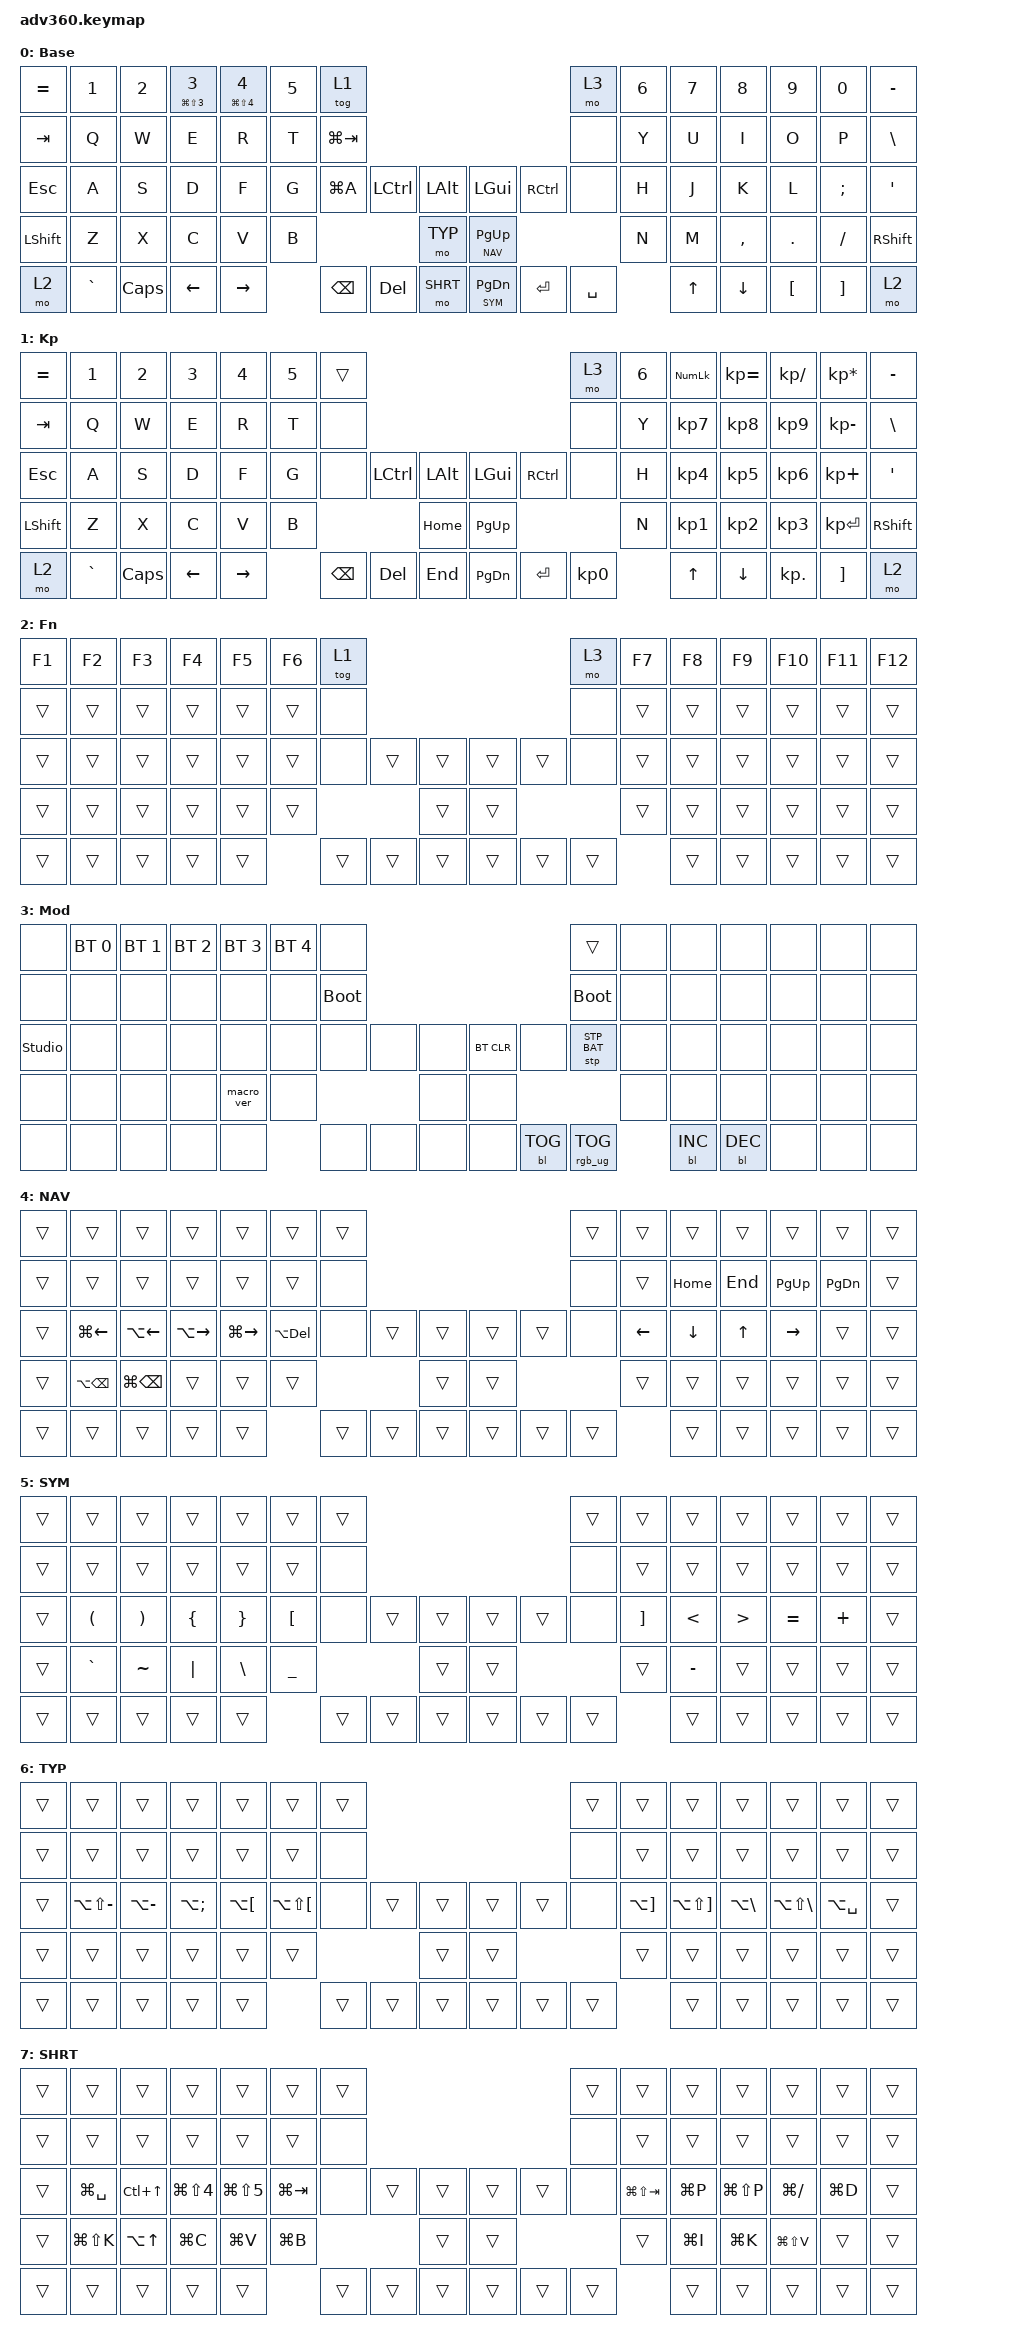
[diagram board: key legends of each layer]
#include <dt-bindings/zmk/stp.h>
#include <behaviors.dtsi>
#include <dt-bindings/zmk/backlight.h>
#include <dt-bindings/zmk/bt.h>
#include <dt-bindings/zmk/keys.h>
#include <dt-bindings/zmk/rgb.h>

#define BASE 0
#define NAV  4
#define SYM  5
#define TYP  6
#define SHRT 7

/ {
    behaviors {
        #include "macros.dtsi"
      #include "version.dtsi"

        hm: homerow_mods {
            compatible = "zmk,behavior-hold-tap";
            label = "HOMEROW_MODS";
            #binding-cells = <2>;
            tapping-term-ms = <200>;
            quick_tap_ms = <175>;
            flavor = "tap-preferred";
            bindings = <&kp>, <&kp>;
        };

        lth: layer_tap_hold {
            compatible = "zmk,behavior-hold-tap";
            label = "LAYER_TAP_HOLD";
            #binding-cells = <2>;
            flavor = "hold-preferred";
            tapping-term-ms = <200>;
            quick-tap-ms = <175>;
            require-prior-idle-ms = <150>;
            bindings = <&mo>, <&kp>;
        };
    };

    keymap {
        compatible = "zmk,keymap";

        default_layer {
            display-name = "Base";
            bindings = <
&kp EQUAL  &kp N1     &kp N2    &hm LG(LS(N3)) NUMBER_3  &hm LG(LS(N4)) NUMBER_4  &kp N5  &tog 1                                                           &mo 3      &kp N6  &kp N7  &kp N8     &kp N9    &kp N0    &kp MINUS
&kp TAB    &kp Q      &kp W     &kp E                    &kp R                    &kp T   &kp LG(TAB)                                                      &none      &kp Y   &kp U   &kp I      &kp O     &kp P     &kp BSLH
&kp ESC    &kp A      &kp S     &kp D                    &kp F                    &kp G   &kp LG(A)    &kp LCTRL  &kp LALT      &kp LGUI        &kp RCTRL  &none      &kp H   &kp J   &kp K      &kp L     &kp SEMI  &kp SQT
&kp LSHFT  &kp Z      &kp X     &kp C                    &kp V                    &kp B                           &mo TYP       &lth NAV PG_UP                        &kp N   &kp M   &kp COMMA  &kp DOT   &kp FSLH  &kp RSHFT
&mo 2      &kp GRAVE  &kp CAPS  &kp LEFT                 &kp RIGHT                        &kp BSPC     &kp DEL    &mo SHRT      &lth SYM PG_DN  &kp ENTER  &kp SPACE          &kp UP  &kp DOWN   &kp LBKT  &kp RBKT  &mo 2
            >;
        };

        keypad {
            display-name = "Kp";
            bindings = <
&kp EQUAL  &kp N1     &kp N2    &kp N3    &kp N4     &kp N5  &trans                                                   &mo 3      &kp N6  &kp KP_NUM  &kp KP_EQUAL  &kp KP_DIVIDE  &kp KP_MULTIPLY  &kp MINUS
&kp TAB    &kp Q      &kp W     &kp E     &kp R      &kp T   &none                                                    &none      &kp Y   &kp KP_N7   &kp KP_N8     &kp KP_N9      &kp KP_MINUS     &kp BSLH
&kp ESC    &kp A      &kp S     &kp D     &kp F      &kp G   &none     &kp LCTRL  &kp LALT      &kp LGUI   &kp RCTRL  &none      &kp H   &kp KP_N4   &kp KP_N5     &kp KP_N6      &kp KP_PLUS      &kp SQT
&kp LSHFT  &kp Z      &kp X     &kp C     &kp V      &kp B                        &kp HOME      &kp PG_UP                        &kp N   &kp KP_N1   &kp KP_N2     &kp KP_N3      &kp KP_ENTER     &kp RSHFT
&mo 2      &kp GRAVE  &kp CAPS  &kp LEFT  &kp RIGHT          &kp BSPC  &kp DEL    &kp END       &kp PG_DN  &kp ENTER  &kp KP_N0          &kp UP      &kp DOWN      &kp KP_DOT     &kp RBKT         &mo 2
            >;
        };

        fn {
            display-name = "Fn";
            bindings = <
&kp F1  &kp F2  &kp F3  &kp F4  &kp F5  &kp F6  &tog 1                                      &mo 3   &kp F7  &kp F8  &kp F9  &kp F10  &kp F11  &kp F12
&trans  &trans  &trans  &trans  &trans  &trans  &none                                       &none   &trans  &trans  &trans  &trans   &trans   &trans
&trans  &trans  &trans  &trans  &trans  &trans  &none   &trans  &trans      &trans  &trans  &none   &trans  &trans  &trans  &trans   &trans   &trans
&trans  &trans  &trans  &trans  &trans  &trans                  &trans      &trans                  &trans  &trans  &trans  &trans   &trans   &trans
&trans  &trans  &trans  &trans  &trans          &trans  &trans  &trans      &trans  &trans  &trans          &trans  &trans  &trans   &trans   &trans
            >;
        };

        mod {
            display-name = "Mod";
            bindings = <
&none           &bt BT_SEL 0  &bt BT_SEL 1  &bt BT_SEL 2  &bt BT_SEL 3  &bt BT_SEL 4  &none                                                  &trans           &none  &none       &none       &none  &none  &none
&none           &none         &none         &none         &none         &none         &bootloader                                            &bootloader      &none  &none       &none       &none  &none  &none
&studio_unlock  &none         &none         &none         &none         &none         &none        &none  &none      &bt BT_CLR  &none       &stp STP_BAT     &none  &none       &none       &none  &none  &none
&none           &none         &none         &none         &macro_ver    &none                             &none      &none                                    &none  &none       &none       &none  &none  &none
&none           &none         &none         &none         &none                       &none        &none  &none      &none       &bl BL_TOG  &rgb_ug RGB_TOG         &bl BL_INC  &bl BL_DEC  &none  &none  &none
            >;
        };

        nav {
            display-name = "NAV";
            status = "okay";
            bindings = <
&trans  &trans        &trans        &trans         &trans         &trans       &trans                                      &trans  &trans    &trans    &trans   &trans     &trans     &trans
&trans  &trans        &trans        &trans         &trans         &trans       &none                                       &none   &trans    &kp HOME  &kp END  &kp PG_UP  &kp PG_DN  &trans
&trans  &kp LG(LEFT)  &kp LA(LEFT)  &kp LA(RIGHT)  &kp LG(RIGHT)  &kp LA(DEL)  &none   &trans  &trans      &trans  &trans  &none   &kp LEFT  &kp DOWN  &kp UP   &kp RIGHT  &trans     &trans
&trans  &kp LA(BSPC)  &kp LG(BSPC)  &trans         &trans         &trans                       &trans      &trans                  &trans    &trans    &trans   &trans     &trans     &trans
&trans  &trans        &trans        &trans         &trans                      &trans  &trans  &trans      &trans  &trans  &trans            &trans    &trans   &trans     &trans     &trans
            >;
        };

        sym {
            display-name = "SYM";
            status = "okay";
            bindings = <
&trans  &trans     &trans     &trans    &trans    &trans     &trans                                      &trans  &trans    &trans     &trans  &trans     &trans    &trans
&trans  &trans     &trans     &trans    &trans    &trans     &none                                       &none   &trans    &trans     &trans  &trans     &trans    &trans
&trans  &kp LPAR   &kp RPAR   &kp LBRC  &kp RBRC  &kp LBKT   &none   &trans  &trans      &trans  &trans  &none   &kp RBKT  &kp LT     &kp GT  &kp EQUAL  &kp PLUS  &trans
&trans  &kp GRAVE  &kp TILDE  &kp PIPE  &kp BSLH  &kp UNDER                  &trans      &trans                  &trans    &kp MINUS  &trans  &trans     &trans    &trans
&trans  &trans     &trans     &trans    &trans               &trans  &trans  &trans      &trans  &trans  &trans            &trans     &trans  &trans     &trans    &trans
            >;
        };

        typ {
            display-name = "TYP";
            status = "okay";
            bindings = <
&trans  &trans             &trans         &trans        &trans        &trans            &trans                                      &trans  &trans        &trans            &trans        &trans            &trans         &trans
&trans  &trans             &trans         &trans        &trans        &trans            &none                                       &none   &trans        &trans            &trans        &trans            &trans         &trans
&trans  &kp LA(LS(MINUS))  &kp LA(MINUS)  &kp LA(SEMI)  &kp LA(LBKT)  &kp LA(LS(LBKT))  &none   &trans  &trans      &trans  &trans  &none   &kp LA(RBKT)  &kp LA(LS(RBKT))  &kp LA(BSLH)  &kp LA(LS(BSLH))  &kp LA(SPACE)  &trans
&trans  &trans             &trans         &trans        &trans        &trans                            &trans      &trans                  &trans        &trans            &trans        &trans            &trans         &trans
&trans  &trans             &trans         &trans        &trans                          &trans  &trans  &trans      &trans  &trans  &trans                &trans            &trans        &trans            &trans         &trans
            >;
        };

        shrt {
            display-name = "SHRT";
            status = "okay";
            bindings = <
&trans  &trans         &trans      &trans          &trans          &trans       &trans                                      &trans  &trans           &trans     &trans         &trans         &trans     &trans
&trans  &trans         &trans      &trans          &trans          &trans       &none                                       &none   &trans           &trans     &trans         &trans         &trans     &trans
&trans  &kp LG(SPACE)  &kp LC(UP)  &kp LG(LS(N4))  &kp LG(LS(N5))  &kp LG(TAB)  &none   &trans  &trans      &trans  &trans  &none   &kp LG(LS(TAB))  &kp LG(P)  &kp LG(LS(P))  &kp LG(SLASH)  &kp LG(D)  &trans
&trans  &kp LG(LS(K))  &kp LA(UP)  &kp LG(C)       &kp LG(V)       &kp LG(B)                    &trans      &trans                  &trans           &kp LG(I)  &kp LG(K)      &kp LG(LS(V))  &trans     &trans
&trans  &trans         &trans      &trans          &trans                       &trans  &trans  &trans      &trans  &trans  &trans                   &trans     &trans         &trans         &trans     &trans
            >;
        };
    };
};
